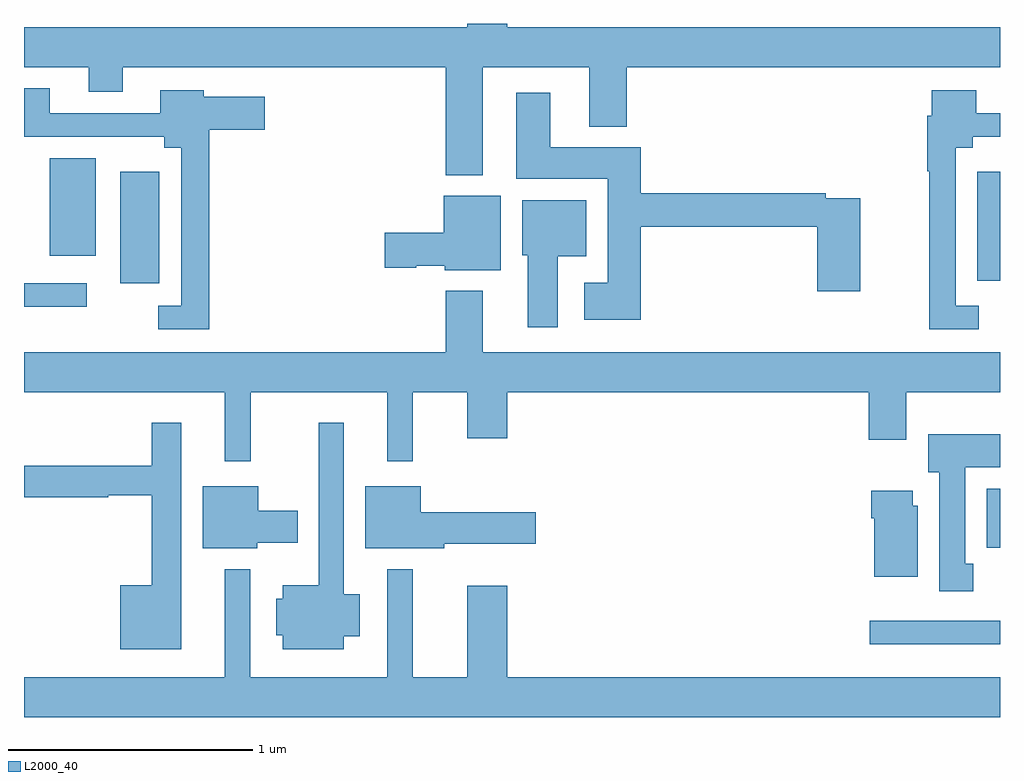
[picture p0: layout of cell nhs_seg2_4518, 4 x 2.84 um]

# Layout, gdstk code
import gdstk
lib = gdstk.Library(unit=1e-6, precision=1e-09)
def R(c, l, rs):  # rectangles x0, y0, x1, y1
    for r in rs: c.add(gdstk.rectangle(r[:2], r[2:], *l))
def P(c, l, *ps):  # polygons
    for p in ps: c.add(gdstk.Polygon(p, *l))
L2000_40 = (2000, 40)

nhs_seg2_4518 = lib.new_cell('nhs_seg2_4518')
R(nhs_seg2_4518, L2000_40, [(358.467,661.256,359,661.353), (358.946,661.652,359,661.894), (355,662.64,355.258,662.736), (355.394,662.735,355.555,663.193), (358.907,662.745,359,663.193), (355.106,662.849,355.294,663.247)])
P(nhs_seg2_4518, L2000_40, [(356.881,663.62),(357.317,663.62),(357.317,663.377),(357.47,663.377),(357.47,663.62),(359,663.62),(359,663.784),(356.98,663.784),(356.98,663.8),(356.816,663.8),(356.816,663.784),(355,663.784),(355,663.62),(355.265,663.62),(355.265,663.521),(355.405,663.521),(355.405,663.62),(356.729,663.62),(356.729,663.179),(356.881,663.179)],
  [(355.76,663.365),(355.987,663.365),(355.987,663.499),(355.737,663.499),(355.737,663.526),(355.559,663.526),(355.559,663.432),(355.105,663.432),(355.105,663.535),(355,663.535),(355,663.336),(355.574,663.336),(355.574,663.29),(355.644,663.29),(355.644,662.644),(355.551,662.644),(355.551,662.547),(355.76,662.547)],
  [(358.912,662.643),(358.818,662.643),(358.818,663.29),(358.888,663.29),(358.888,663.336),(359,663.336),(359,663.432),(358.903,663.432),(358.903,663.526),(358.721,663.526),(358.721,663.422),(358.702,663.422),(358.702,663.194),(358.71,663.194),(358.71,662.547),(358.912,662.547)],
  [(357.527,662.968),(358.25,662.968),(358.25,662.703),(358.428,662.703),(358.428,663.084),(358.286,663.084),(358.286,663.104),(357.527,663.104),(357.527,663.292),(357.157,663.292),(357.157,663.517),(357.017,663.517),(357.017,663.164),(357.392,663.164),(357.392,662.737),(357.297,662.737),(357.297,662.585),(357.527,662.585)],
  [(356.953,663.094),(356.72,663.094),(356.72,662.942),(356.478,662.942),(356.478,662.8),(356.607,662.8),(356.607,662.807),(356.724,662.807),(356.724,662.789),(356.953,662.789)],
  [(357.187,662.846),(357.304,662.846),(357.304,663.076),(357.041,663.076),(357.041,662.85),(357.065,662.85),(357.065,662.556),(357.187,662.556)],
  [(355.93,662.288),(356.489,662.288),(356.489,662.007),(356.593,662.007),(356.593,662.288),(356.816,662.288),(356.816,662.1),(356.98,662.1),(356.98,662.288),(358.463,662.288),(358.463,662.094),(358.615,662.094),(358.615,662.288),(359,662.288),(359,662.452),(356.881,662.452),(356.881,662.704),(356.729,662.704),(356.729,662.452),(355,662.452),(355,662.288),(355.823,662.288),(355.823,662.007),(355.93,662.007)],
  [(355.645,662.164),(355.524,662.164),(355.524,661.987),(355,661.987),(355,661.858),(355.345,661.858),(355.345,661.866),(355.524,661.866),(355.524,661.498),(355.394,661.498),(355.394,661.235),(355.645,661.235)],
  [(356.311,661.289),(356.377,661.289),(356.377,661.46),(356.311,661.46),(356.311,662.164),(356.207,662.164),(356.207,661.498),(356.06,661.498),(356.06,661.443),(356.033,661.443),(356.033,661.293),(356.06,661.293),(356.06,661.235),(356.311,661.235)],
  [(358.891,661.586),(358.858,661.586),(358.858,661.982),(359,661.982),(359,662.116),(358.706,662.116),(358.706,661.962),(358.751,661.962),(358.751,661.473),(358.891,661.473)],
  [(356.722,661.667),(357.097,661.667),(357.097,661.797),(356.626,661.797),(356.626,661.903),(356.399,661.903),(356.399,661.649),(356.722,661.649)],
  [(355.956,661.673),(356.122,661.673),(356.122,661.803),(355.96,661.803),(355.96,661.903),(355.733,661.903),(355.733,661.649),(355.956,661.649)],
  [(358.663,661.824),(358.642,661.824),(358.642,661.885),(358.472,661.885),(358.472,661.772),(358.484,661.772),(358.484,661.532),(358.663,661.532)],
  [(359,661.12),(356.98,661.12),(356.98,661.495),(356.816,661.495),(356.816,661.12),(356.593,661.12),(356.593,661.564),(356.489,661.564),(356.489,661.12),(355.927,661.12),(355.927,661.564),(355.823,661.564),(355.823,661.12),(355,661.12),(355,660.956),(359,660.956)])

lib.write_gds('nhs_seg2_4518.gds')
